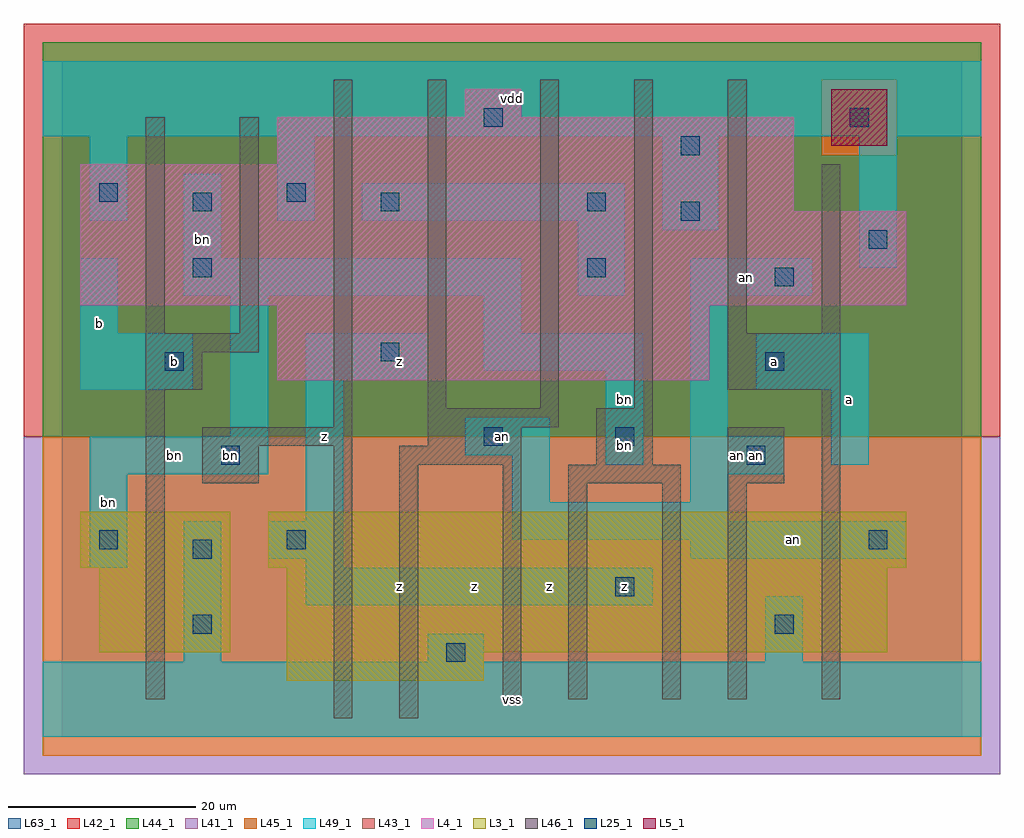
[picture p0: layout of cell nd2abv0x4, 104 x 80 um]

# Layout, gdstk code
import gdstk
lib = gdstk.Library(unit=1e-6, precision=1e-09)
def R(c, l, rs):  # rectangles x0, y0, x1, y1
    for r in rs: c.add(gdstk.rectangle(r[:2], r[2:], *l))
L3_1 = (3, 1)
L4_1 = (4, 1)
L5_1 = (5, 1)
L25_1 = (25, 1)
L41_1 = (41, 1)
L42_1 = (42, 1)
L43_1 = (43, 1)
L44_1 = (44, 1)
L45_1 = (45, 1)
L46_1 = (46, 1)
L49_1 = (49, 1)
L63_1 = (63, 1)

nd2abv0x4 = lib.new_cell('nd2abv0x4')
R(nd2abv0x4, L3_1, [(24,6,45,9), (4,9,18,18), (24,9,88,18), (2,18,18,24), (22,18,90,24)])
R(nd2abv0x4, L4_1, [(23,38,69,46), (2,46,90,56), (2,56,78,61), (23,61,78,66), (43,66,49,69)])
R(nd2abv0x4, L5_1, [(82,63,88,69)])
R(nd2abv0x4, L25_1, [(41,8,43,10), (14,11,16,13), (76,11,78,13), (59,15,61,17), (14,19,16,21), (4,20,6,22), (24,20,26,22), (86,20,88,22), (17,29,19,31), (73,29,75,31), (45,31,47,33), (59,31,61,33), (11,39,13,41), (75,39,77,41), (34,40,36,42), (76,48,78,50), (14,49,16,51), (56,49,58,51), (86,52,88,54), (66,55,68,57), (14,56,16,58), (34,56,36,58), (56,56,58,58), (4,57,6,59), (24,57,26,59), (66,62,68,64), (45,65,47,67), (84,65,86,67)])
R(nd2abv0x4, L41_1, [(-4,-4,100,32)])
R(nd2abv0x4, L42_1, [(-4,32,100,76)])
R(nd2abv0x4, L43_1, [(24,6,45,9), (4,9,18,18), (24,9,88,18), (2,18,18,24), (22,18,90,24), (23,38,69,46), (2,46,90,56), (2,56,78,61), (23,61,78,66), (82,63,88,69), (43,66,49,69)])
R(nd2abv0x4, L44_1, [(-2,32,98,62), (-2,62,81,70), (89,62,98,70), (-2,70,98,74)])
R(nd2abv0x4, L45_1, [(-2,-2,98,32), (81,62,89,70)])
R(nd2abv0x4, L46_1, [(29,2,31,31), (36,2,38,29), (9,4,11,37), (47,4,49,29), (54,4,56,27), (64,4,66,27), (71,4,73,27), (81,4,83,37), (15,27,21,31), (54,27,66,29), (71,27,77,33), (36,29,49,31), (57,29,63,35), (15,31,31,33), (39,31,49,33), (29,33,31,70), (39,33,53,35), (39,35,41,70), (51,35,53,70), (61,35,63,70), (9,37,15,41), (71,37,83,43), (9,41,21,43), (9,43,11,66), (19,43,21,66), (71,43,73,70), (81,43,83,61)])
R(nd2abv0x4, L49_1, [(-2,0,98,8), (13,8,17,23), (39,8,45,11), (75,8,79,15), (26,14,63,18), (3,18,7,28), (26,18,30,19), (22,19,30,23), (67,19,90,21), (48,21,90,23), (26,23,30,38), (48,23,71,25), (48,25,52,30), (67,25,71,28), (3,28,22,32), (67,28,77,32), (58,29,62,39), (82,29,86,37), (43,30,52,34), (18,32,22,47), (67,32,71,47), (2,37,14,43), (74,37,86,43), (26,38,39,43), (45,39,62,43), (2,43,6,51), (45,43,49,47), (13,47,49,51), (55,47,60,55), (67,47,80,51), (85,50,89,64), (13,51,17,60), (64,54,70,64), (3,55,7,64), (23,55,27,64), (32,55,60,59), (-2,64,98,72)])
R(nd2abv0x4, L63_1, [(0,0,96,72)])
nd2abv0x4.add(gdstk.Label('bn', (18,30), layer=49, texttype=1))
nd2abv0x4.add(gdstk.Label('bn', (60,31), layer=49, texttype=1))
nd2abv0x4.add(gdstk.Label('an', (74,30), layer=49, texttype=1))
nd2abv0x4.add(gdstk.Label('bn', (5,25), layer=49, texttype=1))
nd2abv0x4.add(gdstk.Label('b', (12,40), layer=49, texttype=1))
nd2abv0x4.add(gdstk.Label('b', (4,44), layer=49, texttype=1))
nd2abv0x4.add(gdstk.Label('bn', (15,53), layer=49, texttype=1))
nd2abv0x4.add(gdstk.Label('z', (28,32), layer=49, texttype=1))
nd2abv0x4.add(gdstk.Label('bn', (12,30), layer=49, texttype=1))
nd2abv0x4.add(gdstk.Label('vss', (48,4), layer=49, texttype=1))
nd2abv0x4.add(gdstk.Label('z', (44,16), layer=49, texttype=1))
nd2abv0x4.add(gdstk.Label('z', (52,16), layer=49, texttype=1))
nd2abv0x4.add(gdstk.Label('z', (36,16), layer=49, texttype=1))
nd2abv0x4.add(gdstk.Label('an', (47,32), layer=49, texttype=1))
nd2abv0x4.add(gdstk.Label('z', (36,40), layer=49, texttype=1))
nd2abv0x4.add(gdstk.Label('vdd', (48,68), layer=49, texttype=1))
nd2abv0x4.add(gdstk.Label('z', (60,16), layer=49, texttype=1))
nd2abv0x4.add(gdstk.Label('an', (72,30), layer=49, texttype=1))
nd2abv0x4.add(gdstk.Label('a', (76,40), layer=49, texttype=1))
nd2abv0x4.add(gdstk.Label('bn', (60,36), layer=49, texttype=1))
nd2abv0x4.add(gdstk.Label('an', (78,21), layer=49, texttype=1))
nd2abv0x4.add(gdstk.Label('a', (84,36), layer=49, texttype=1))
nd2abv0x4.add(gdstk.Label('an', (73,49), layer=49, texttype=1))

lib.write_gds('nd2abv0x4.gds')
